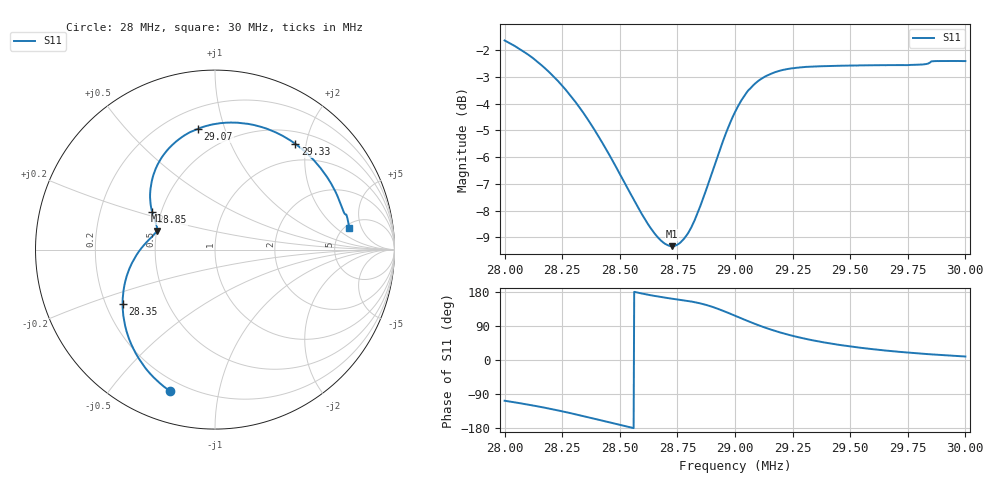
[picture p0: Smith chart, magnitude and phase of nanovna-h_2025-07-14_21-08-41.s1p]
! NanoVNA-App by OneOfEleven et al v1.1.209 (+OD18)
! Date: 2025-07-14 21:08:42
! Start: 28MHz Stop: 30MHz Points: 801
! S-Parameter data: F S11
# Hz S RI R 50
!  Frequency  S11_Real  S11_Imag
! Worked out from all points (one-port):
!   801 points, 28 MHz to 30 MHz, reference 50 ohm
!   lowest |S11| = -9.3 dB at 28.73 MHz (marker M1), VSWR 2.04, Z = 25 + j5.98 ohm
!   |S11| at or under -10 dB: nowhere
!   S11 on the Smith chart (normalised r, x): 28 MHz: 0.14, -0.72; 28.35 MHz: 0.27, -0.25; 28.85 MHz: 0.45, +0.23; 29.07 MHz: 0.33, +0.81; 29.33 MHz: 0.69, +1.80; 30 MHz: 5.45, +3.10
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2.8e7  -0.2488 -0.79
2.81225e7  -0.3838 -0.665
2.825e7  -0.4858 -0.4784
2.83525e7  -0.5149 -0.3021
2.8425e7  -0.5007 -0.1804
2.85e7  -0.4605 -0.071
2.86025e7  -0.3859 0.0362
2.867e7  -0.3438 0.0794
2.8725e7  -0.3247 0.1056
2.875e7  -0.3228 0.1179
2.88e7  -0.3305 0.1513
2.88525e7  -0.3506 0.211
2.88925e7  -0.3613 0.2813
2.89325e7  -0.354 0.3732
2.89675e7  -0.3252 0.4622
2.9e7  -0.2756 0.5424
2.904e7  -0.1876 0.6247
2.9075e7  -0.0951 0.6731
2.911e7  0.001 0.7002
2.915e7  0.1069 0.7077
2.925e7  0.3245 0.659
2.933e7  0.447 0.5897
2.941e7  0.5343 0.5151
2.95e7  0.6028 0.4347
2.96075e7  0.6579 0.348
2.975e7  0.7018 0.2495
2.98625e7  0.733 0.1911
3e7  0.7481 0.1211
